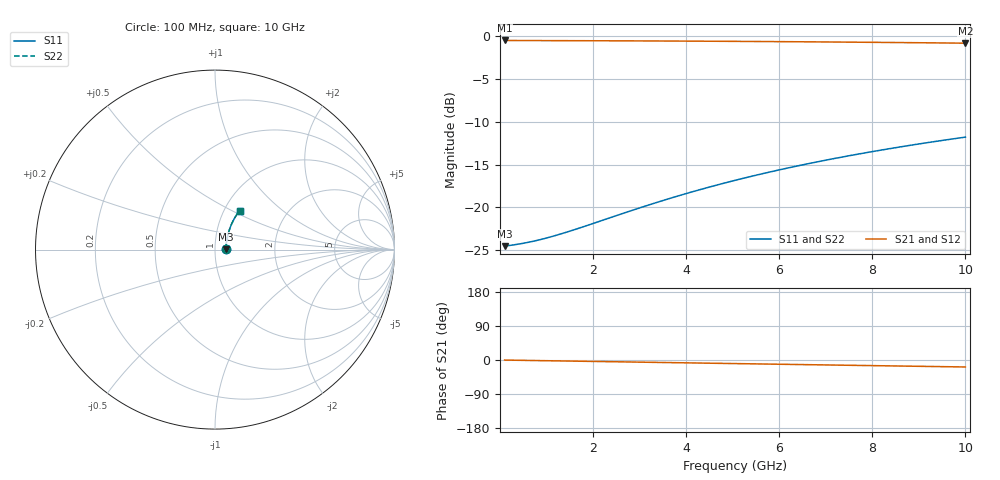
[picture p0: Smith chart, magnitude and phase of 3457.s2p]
# Hz S RI R 50.00
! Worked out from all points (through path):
!   100 points, 100 MHz to 10 GHz, reference 50 ohm
!   highest |S21| = -0.53 dB at 100 MHz (marker M1); lowest = -0.8 dB at 10 GHz (marker M2)
!   group delay of S21, straight-line fit = 5.12 ps
!   lowest |S11| = -24.5 dB at 100 MHz (marker M3), VSWR 1.13, Z = 56.3 + j0.272 ohm
!   |S11| at or under -10 dB: start of sweep to end of sweep
!   |S22| runs from -24.5 to -11.8 dB; largest |S21 - S12| = 0
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1e8  0.0594 0.00241  0.9406 -0.00309  0.9406 -0.00309  0.0594 0.00241
3e8  0.0601 0.00721  0.9399 -0.00927  0.9399 -0.00927  0.0601 0.00721
5e8  0.0606 0.012  0.9393 -0.0154  0.9393 -0.0154  0.0606 0.012
7e8  0.0611 0.0168  0.9388 -0.0216  0.9388 -0.0216  0.0611 0.0168
9e8  0.0616 0.0216  0.9383 -0.0277  0.9383 -0.0277  0.0616 0.0216
1.1e9  0.0622 0.0263  0.9378 -0.0339  0.9378 -0.0339  0.0622 0.0263
1.3e9  0.0627 0.0311  0.9372 -0.04  0.9372 -0.04  0.0627 0.0311
1.8e9  0.0643 0.0429  0.9356 -0.0553  0.9356 -0.0553  0.0643 0.0429
2.8e9  0.0684 0.0664  0.9314 -0.0857  0.9314 -0.0857  0.0684 0.0664
3.4e9  0.0716 0.0803  0.9281 -0.1037  0.9281 -0.1037  0.0716 0.0803
3.8e9  0.0739 0.0895  0.9257 -0.1157  0.9257 -0.1157  0.0739 0.0895
4.2e9  0.0765 0.0986  0.923 -0.1275  0.923 -0.1275  0.0765 0.0986
4.6e9  0.0793 0.1076  0.9201 -0.1393  0.9201 -0.1393  0.0793 0.1076
5.1e9  0.0832 0.1188  0.9162 -0.1539  0.9162 -0.1539  0.0832 0.1188
5.5e9  0.0865 0.1276  0.9128 -0.1654  0.9128 -0.1654  0.0865 0.1276
5.9e9  0.09 0.1362  0.9091 -0.1769  0.9091 -0.1769  0.09 0.1362
6.3e9  0.0937 0.1448  0.9053 -0.1882  0.9053 -0.1882  0.0937 0.1448
6.7e9  0.0976 0.1532  0.9012 -0.1994  0.9012 -0.1994  0.0976 0.1532
7.5e9  0.1061 0.1697  0.8925 -0.2214  0.8925 -0.2214  0.1061 0.1697
8.4e9  0.1164 0.1876  0.8818 -0.2455  0.8818 -0.2455  0.1164 0.1876
9.2e9  0.1264 0.2028  0.8714 -0.2663  0.8714 -0.2663  0.1264 0.2028
1e10  0.1371 0.2174  0.8604 -0.2864  0.8604 -0.2864  0.1371 0.2174
